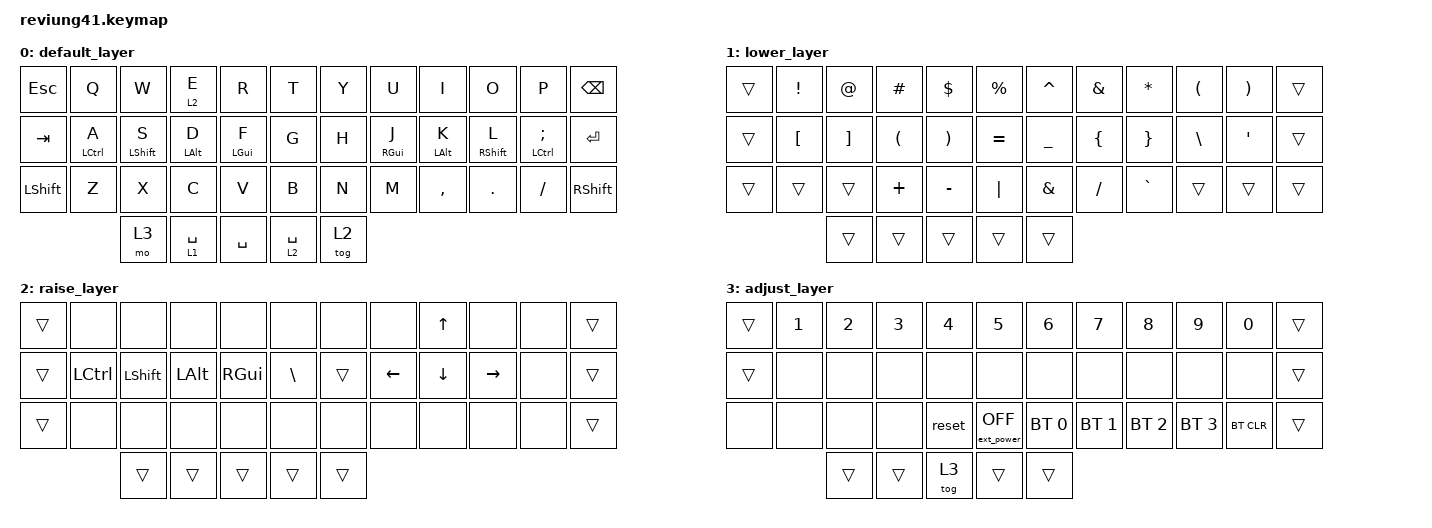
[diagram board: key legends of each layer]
/*
 * Copyright (c) 2020 The ZMK Contributors
 *
 * SPDX-License-Identifier: MIT
 */

#include <behaviors.dtsi>
#include <dt-bindings/zmk/keys.h>
#include <dt-bindings/zmk/bt.h>
#include <dt-bindings/zmk/rgb.h>
#include <dt-bindings/zmk/ext_power.h>

/ {    
        behaviors {
                hm: homerow_mods {
                    compatible = "zmk,behavior-hold-tap";
                    label = "HOMEROW_MODS";
                    #binding-cells = <2>;
                    tapping-term-ms = <200>;
                    quick_tap_ms = <0>;
                    flavor = "tap-preferred";
                    bindings = <&kp>, <&kp>;
                };
        };
        
        keymap {
                compatible = "zmk,keymap";

                default_layer {
// -------------------------------------------------------------------------------------
// |  TAB |  Q  |  W  |  E  |  R  |  T  |   |  Y  |  U   |  I  |  O  |  P  |BKSP |
// | CTRL |  A  |  S  |  D  |  F  |  G  |   |  H  |  J   |  K  |  L  |  ;  |  '  |
// | SHFT |  Z  |  X  |  C  |  V  |  B  |   |  N  |  M   |  ,  |  .  |  /  | RET |
//                         | ALT | LWR | SPC | RSE  | ALT |
                        bindings = <
   &kp ESC         &kp Q       &kp W       &lt 2 E    &kp R      &kp T          &kp Y  &kp U      &kp I      &kp O       &kp P          &kp BSPC
   &kp TAB         &hm LCTRL A &hm LSHFT S &hm LALT D &hm LGUI F &kp G          &kp H  &hm RGUI J &hm LALT K &hm RSHFT L &hm LCTRL SEMI &kp RET
   &kp LSHFT       &kp Z       &kp X       &kp C      &kp V      &kp B          &kp N  &kp M      &kp COMMA  &kp DOT     &kp FSLH       &kp RSHFT
                                &mo 3      &lt 1 SPACE    &kp SPACE   &lt 2 SPACE  &tog 2
                        >;
                };

                lower_layer {
// ----------------------------------------------------------------------------------
// |    |  !  |  @  |  #  |  $  |  %  |   |  ^  |  &  |  *  |  (  |  )  |     |
// |    |  [  |  ]  |  (  |  )  |  =  |   |  _  |  {  |  }  |  \  |  '  |     |
// |    |     |     |  +  |  -  | "|" |   |  &  |  /  |  `  |     |     |     |
//                       |     |     |     |     |     |
                        bindings = <
   &trans &kp EXCL  &kp AT      &kp HASH &kp DLLR  &kp PRCNT      &kp CARET &kp AMPS &kp STAR &kp LPAR  &kp RPAR  &trans
   &trans &kp LBKT  &kp RBKT    &kp LPAR &kp RPAR  &kp EQUAL      &kp UNDER &kp LBRC &kp RBRC  &kp BSLH  &kp SQT   &trans
   &trans &trans    &trans      &kp PLUS &kp MINUS &kp PIPE       &kp AMPS  &kp FSLH &kp GRAVE &trans    &trans    &trans
                                 &trans      &trans       &trans         &trans      &trans
                        >;
                };

                raise_layer {
// -----------------------------------------------------------------------------------------
// |    |     |     |      |     |     |   |     |      |  UP  |       |     |     |
// |    |     |LCTRL|LSHIFT| LALT|LGUI |   |     | LEFT | DOWN | RIGHT |     |     |
// |    |     |     |      |     |     |   |     |      |      |       |     |     |
//                       |     |     |     |     |      |
                        bindings = <
   &trans &none     &none      &none     &none     &none         &none     &none     &kp UP    &none     &none  &trans
   &trans &kp LCTRL &kp LSHIFT &kp LALT  &kp RGUI  &kp BSLH      &trans    &kp LEFT  &kp DOWN  &kp RIGHT &none    &trans
   &trans &none     &none      &none     &none     &none         &none     &none     &none     &none     &none  &trans
                                &trans      &trans       &trans        &trans      &trans
                        >;
                };

                adjust_layer {
// -----------------------------------------------------------------------------------------
// |    |  1  |  2  |  3  |  4  |  5   |   |  6  |  7  |  8  |  9  |  0  |    |
// |    |     |     |     |     |      |   |     |     |     |     |     |    |
// |    |     |     |     |RESET|EP_OFF|   | BT0 | BT1 | BT2 | BT3 |BTCLR|    |
//                        |     |      |   |     |     |
                        bindings = <
   &trans &kp N1 &kp N2 &kp N3 &kp N4 &kp N5                 &kp N6       &kp N7       &kp N8       &kp N9       &kp N0       &trans
   &trans &none  &none  &none  &none  &none                  &none        &none        &none        &none        &none        &trans
   &none  &none  &none  &none  &reset &ext_power EP_OFF      &bt BT_SEL 0 &bt BT_SEL 1 &bt BT_SEL 2 &bt BT_SEL 3 &bt BT_CLR   &trans
                                &trans      &trans       &tog 3        &trans      &trans
                        >;
                };
        };
};
